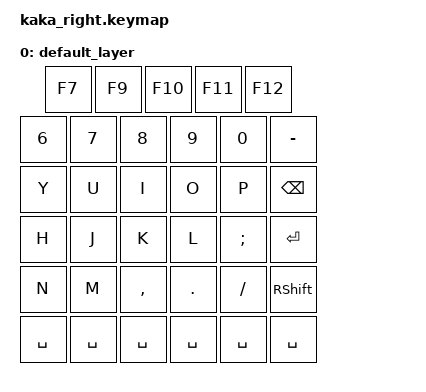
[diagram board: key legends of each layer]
/*
 * Copyright (c) 2020 The ZMK Contributors
 *
 * SPDX-License-Identifier: MIT
 */

#include <behaviors.dtsi>
#include <dt-bindings/zmk/keys.h>
#include <dt-bindings/zmk/bt.h>

/ {
        keymap {
                compatible = "zmk,keymap";

                default_layer {
                        bindings = <
        &kp F7   &kp F9 &kp F10 &kp F11 &kp F12
        &kp N6   &kp N7 &kp N8 &kp N9 &kp N0 &kp MINUS
        &kp Y   &kp U &kp I &kp O &kp P &kp BSPC
        &kp H   &kp J &kp K &kp L &kp SEMI &kp ENTER
        &kp N &kp M &kp COMMA &kp DOT &kp FSLH  &kp RSHIFT
        &kp SPACE &kp SPACE &kp SPACE &kp SPACE &kp SPACE &kp SPACE
        >;
                };
             
        };
};


